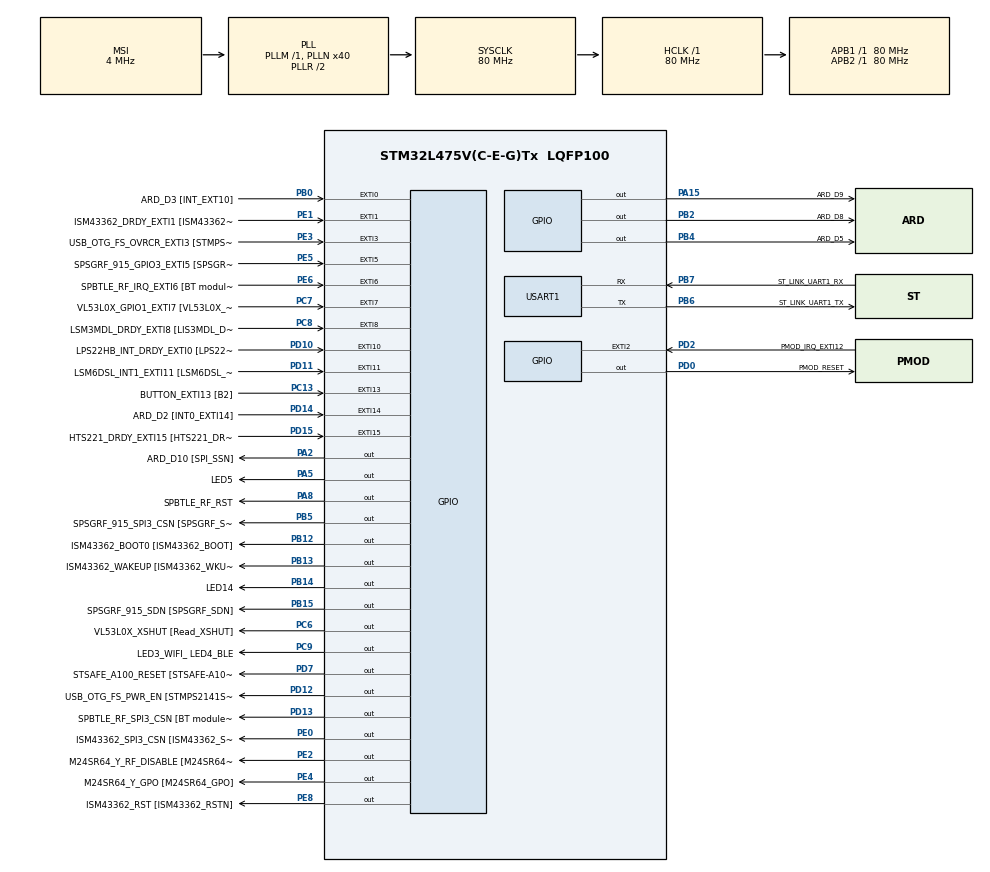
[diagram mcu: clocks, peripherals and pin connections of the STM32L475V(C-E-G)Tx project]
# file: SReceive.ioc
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Mcu.Family=STM32L4
Mcu.Name=STM32L475V(C-E-G)Tx
Mcu.Package=LQFP100
NVIC.EXTI15_10_IRQn=true\:0\:0\:false\:false\:true\:true\:true
NVIC.EXTI9_5_IRQn=true\:0\:0\:false\:false\:true\:true\:true
NVIC.PriorityGroup=NVIC_PRIORITYGROUP_4
NVIC.USART1_IRQn=true\:0\:0\:false\:false\:true\:true\:true
PA0.GPIO_Label=ARD_D1 [UART4_TX]
PA0.Signal=UART4_TX
PA1.GPIO_Label=ARD_D0 [UART4_RX]
PA1.Signal=UART4_RX
PA10.GPIO_Label=USB_OTG_FS_ID
PA10.Signal=USB_OTG_FS_ID
PA11.GPIO_Label=USB_OTG_FS_DM
PA11.Signal=USB_OTG_FS_DM
PA12.GPIO_Label=USB_OTG_FS_DP
PA12.Signal=USB_OTG_FS_DP
PA13\ (JTMS-SWDIO).GPIO_Label=SYS_JTMS_SWDIO
PA13\ (JTMS-SWDIO).Signal=SYS_JTMS-SWDIO
PA14\ (JTCK-SWCLK).GPIO_Label=SYS_JTCK_SWCLK
PA14\ (JTCK-SWCLK).Signal=SYS_JTCK-SWCLK
PA15\ (JTDI).GPIO_Label=ARD_D9
PA15\ (JTDI).Signal=GPIO_Output
PA2.GPIO_Label=ARD_D10 [SPI_SSN]
PA2.Signal=GPIO_Output
PA3.GPIO_Label=ARD_D4
PA3.Signal=S_TIM2_CH4
PA4.GPIO_Label=ARD_D7
PA4.Signal=ADCx_IN9
PA5.GPIO_Label=LED5
PA5.Signal=GPIO_Output
PA6.GPIO_Label=ARD_D12 [SPI1_MISO]
PA6.Signal=SPI1_MISO
PA7.GPIO_Label=ARD_D11 [SPI1_MOSI]
PA7.Signal=SPI1_MOSI
PA8.GPIO_Label=SPBTLE_RF_RST
PA8.Signal=GPIO_Output
PA9.GPIO_Label=USB_OTG_FS_VBUS [STMPS2141STR_OUT]
PA9.Signal=USB_OTG_FS_VBUS
PB0.GPIO_Label=ARD_D3 [INT_EXT10]
PB0.Signal=GPXTI0
PB1.GPIO_Label=ARD_D6 [ADC1_IN6]
PB1.Signal=ADCx_IN16
PB10.GPIO_Label=INTERNAL_I2C2_SCL [VL53L0X_SCL]
PB10.Signal=I2C2_SCL
PB11.GPIO_Label=INTERNAL_I2C2_SDA [VL53L0X_SDA]
PB11.Signal=I2C2_SDA
PB12.GPIO_Label=ISM43362_BOOT0 [ISM43362_BOOT]
PB12.Signal=GPIO_Output
PB13.GPIO_Label=ISM43362_WAKEUP [ISM43362_WKUP]
PB13.Signal=GPIO_Output
PB14.GPIO_Label=LED14
PB14.Signal=GPIO_Output
PB15.GPIO_Label=SPSGRF_915_SDN [SPSGRF_SDN]
PB15.Signal=GPIO_Output
PB2.GPIO_Label=ARD_D8
PB2.Signal=GPIO_Output
PB3\ (JTDO-TRACESWO).GPIO_Label=SYS_JTD0_SWO
PB3\ (JTDO-TRACESWO).Signal=SYS_JTDO-SWO
PB4\ (NJTRST).GPIO_Label=ARD_D5
PB4\ (NJTRST).Signal=GPIO_Output
PB5.GPIO_Label=SPSGRF_915_SPI3_CSN [SPSGRF_SPI_CS]
PB5.PinState=GPIO_PIN_SET
PB5.Signal=GPIO_Output
PB6.GPIO_Label=ST_LINK_UART1_TX
PB6.Mode=Asynchronous
PB6.Signal=USART1_TX
PB7.GPIO_Label=ST_LINK_UART1_RX
PB7.Mode=Asynchronous
PB7.Signal=USART1_RX
PB8.GPIO_Label=ARD_D15 [I2C1_SCL]
PB8.Signal=I2C1_SCL
PB9.GPIO_Label=ARD_D14 [I2C1_SDA]
PB9.Signal=I2C1_SDA
PC0.GPIO_Label=ARD_A5 [ADC]
PC0.Signal=ADCx_IN1
PC1.GPIO_Label=ARD_A4 [ADC]
PC1.Signal=ADCx_IN2
PC10.GPIO_Label=INTERNAL_SPI3_SCK [BT module_SPI_SCLK] [ISM43362_SCK]
PC10.Signal=SPI3_SCK
PC11.GPIO_Label=INTERNAL_SPI3_MISO [BT module_SPI_MISO] [ISM43362_MISO]
PC11.Signal=SPI3_MISO
PC12.GPIO_Label=INTERNAL_SPI3_MOSI [BT module_SPI_MOSI] [ISM43362_MOSI]
PC12.Signal=SPI3_MOSI
PC13.GPIO_Label=BUTTON_EXTI13 [B2]
PC13.GPIO_ModeDefaultEXTI=GPIO_MODE_IT_FALLING
PC13.Signal=GPXTI13
PC14-OSC32_IN\ (PC14).Signal=RCC_OSC32_IN
PC15-OSC32_OUT\ (PC15).Signal=RCC_OSC32_OUT
PC2.GPIO_Label=ARD_A3 [ADC]
PC2.Signal=ADCx_IN3
PC3.GPIO_Label=ARD_A2 [ADC]
PC3.Signal=ADCx_IN4
PC4.GPIO_Label=ARD_A1 [ADC]
PC4.Signal=ADCx_IN13
PC5.GPIO_Label=ARD_A0 [ADC]
PC5.Signal=ADCx_IN14
PC6.GPIO_Label=VL53L0X_XSHUT [Read_XSHUT]
PC6.Signal=GPIO_Output
PC7.GPIO_Label=VL53L0X_GPIO1_EXTI7 [VL53L0X_GPIO1]
PC7.Signal=GPXTI7
PC8.GPIO_Label=LSM3MDL_DRDY_EXTI8 [LIS3MDL_DRDY]
PC8.Signal=GPXTI8
PC9.GPIO_Label=LED3_WIFI_ LED4_BLE
PC9.Signal=GPIO_Output
PD0.GPIO_Label=PMOD_RESET
PD0.Signal=GPIO_Output
PD1.GPIO_Label=PMOD_SPI2_SCK
PD1.Signal=SPI2_SCK
PD10.GPIO_Label=LPS22HB_INT_DRDY_EXTI0 [LPS22HB_INT_DRDY] 
PD10.Signal=GPXTI10
PD11.GPIO_Label=LSM6DSL_INT1_EXTI11 [LSM6DSL_INT1]
PD11.Signal=GPXTI11
PD12.GPIO_Label=USB_OTG_FS_PWR_EN [STMPS2141STR_EN]
PD12.Signal=GPIO_Output
PD13.GPIO_Label=SPBTLE_RF_SPI3_CSN [BT module_SPI_CS]
PD13.PinState=GPIO_PIN_SET
PD13.Signal=GPIO_Output
PD14.GPIO_Label=ARD_D2 [INT0_EXTI14]
PD14.Signal=GPXTI14
PD15.GPIO_Label=HTS221_DRDY_EXTI15 [HTS221_DRDY]
PD15.Signal=GPXTI15
PD2.GPIO_Label=PMOD_IRQ_EXTI12
PD2.Signal=GPXTI2
PD3.GPIO_Label=PMOD_UART2_CTS
PD3.Signal=USART2_CTS
PD4.GPIO_Label=PMOD_UART2_RTS
PD4.Signal=USART2_RTS
PD5.GPIO_Label=PMOD_UART2_TX
PD5.Signal=USART2_TX
PD6.GPIO_Label=PMOD_UART2_RX
PD6.Signal=USART2_RX
PD7.GPIO_Label=STSAFE_A100_RESET [STSAFE-A100_RESET]
PD7.Signal=GPIO_Output
PD8.GPIO_Label=INTERNAL_UART3_TX [ISM43362_RX]
PD8.Signal=USART3_TX
PD9.GPIO_Label=INTERNAL_UART3_RX [ISM43362_TX]
PD9.Signal=USART3_RX
PE0.GPIO_Label=ISM43362_SPI3_CSN [ISM43362_SSN]
PE0.PinState=GPIO_PIN_SET
PE0.Signal=GPIO_Output
PE1.GPIO_Label=ISM43362_DRDY_EXTI1 [ISM43362_DATARDY]
PE1.Signal=GPXTI1
PE10.GPIO_Label=QUADSPI_CLK [MX25R6435F_SCLK]
PE10.Signal=QUADSPI_CLK
PE11.GPIO_Label=QUADSPI_NCS [MX25R6435F_SCLK]
PE11.Signal=QUADSPI_NCS
PE12.GPIO_Label=OQUADSPI_BK1_IO0 [MX25R6435F_IO0]
PE12.Signal=QUADSPI_BK1_IO0
PE13.GPIO_Label=QUADSPI_BK1_IO1 [MX25R6435F_IO1]
PE13.Signal=QUADSPI_BK1_IO1
PE14.GPIO_Label=QUAD_SPI_BK1_IO2 [MX25R6435F_IO2]
PE14.Signal=QUADSPI_BK1_IO2
PE15.GPIO_Label=QUAD_SPI_BK1_IO3 [MX25R6435F_IO3]
PE15.Signal=QUADSPI_BK1_IO3
PE2.GPIO_Label=M24SR64_Y_RF_DISABLE [M24SR64_RFDIS]
PE2.Signal=GPIO_Output
PE3.GPIO_Label=USB_OTG_FS_OVRCR_EXTI3 [STMPS2141STR_FAULT]
PE3.Signal=GPXTI3
PE4.GPIO_Label=M24SR64_Y_GPO [M24SR64_GPO]
PE4.Signal=GPIO_Output
PE5.GPIO_Label=SPSGRF_915_GPIO3_EXTI5 [SPSGRF_GPIO_3]
PE5.Signal=GPXTI5
PE6.GPIO_Label=SPBTLE_RF_IRQ_EXTI6 [BT module_SPI_IRQ]
PE6.Signal=GPXTI6
PE7.GPIO_Label=DFSDM1_DATIN2 [MP34DT01_DOUT]
PE7.Signal=S_DATAIN2DFSDM1
PE8.GPIO_Label=ISM43362_RST [ISM43362_RSTN]
PE8.Signal=GPIO_Output
PE9.GPIO_Label=DFSDM1_CKOUT [MP34DT01_CLK]
PE9.Signal=S_CKOUTDFSDM1
ProjectManager.HeapSize=0x200
ProjectManager.StackSize=0x400
ProjectManager.TargetToolchain=STM32CubeIDE
RCC.ADCFreq_Value=48000000
RCC.AHBFreq_Value=80000000
RCC.APB1Freq_Value=80000000
RCC.APB1TimFreq_Value=80000000
RCC.APB2Freq_Value=80000000
RCC.APB2TimFreq_Value=80000000
RCC.CortexFreq_Value=80000000
RCC.HCLKFreq_Value=80000000
RCC.HSE_VALUE=8000000
RCC.HSI_VALUE=16000000
RCC.LSE_VALUE=32768
RCC.MSI_VALUE=4000000
RCC.PLLN=40
RCC.PLLSAI1N=24
RCC.SYSCLKFreq_VALUE=80000000
RCC.SYSCLKSource=RCC_SYSCLKSOURCE_PLLCLK
RCC.USBFreq_Value=48000000
RCC.VCOOutputFreq_Value=160000000
SH.ADCx_IN1.0=ADC1_IN1
SH.ADCx_IN13.0=ADC1_IN13
SH.ADCx_IN14.0=ADC1_IN14
SH.ADCx_IN16.0=ADC1_IN16
SH.ADCx_IN2.0=ADC1_IN2
SH.ADCx_IN3.0=ADC1_IN3
SH.ADCx_IN4.0=ADC1_IN4
SH.ADCx_IN9.0=ADC1_IN9
SH.S_CKOUTDFSDM1.0=DFSDM1_CKOUT
SH.S_DATAIN2DFSDM1.0=DFSDM1_DATIN2
SH.S_TIM2_CH4.0=TIM2_CH4
USART1.VirtualMode-Asynchronous=VM_ASYNC
board=B-L475E-IOT01A1

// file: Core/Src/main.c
/* USER CODE BEGIN Header */
/**
  ******************************************************************************
  * @file           : main.c
  * @brief          : Main program body
  ******************************************************************************
  * @attention
  *
  * <h2><center>&copy; Copyright (c) 2022 STMicroelectronics.
  * All rights reserved.</center></h2>
  *
  * This software component is licensed by ST under BSD 3-Clause license,
  * the "License"; You may not use this file except in compliance with the
  * License. You may obtain a copy of the License at:
  *                        opensource.org/licenses/BSD-3-Clause
  *
  ******************************************************************************
  */
/* USER CODE END Header */
#include "main.h"

/* USER CODE BEGIN Includes */
#include"stdio.h"
/* USER CODE END Includes */

UART_HandleTypeDef huart1;

/* USER CODE BEGIN PV */
uint8_t msg[] = "Hi, Welcome to UART RX demo!!\r\n";
/*uint8_t msg1[] = "LED ON\r\n";
uint8_t msg2[] = "LED OFF\r\n";*/
//a temp buffr to store received msg
uint8_t msgRcv[] = "You have entered : ";
uint8_t num = 0;
uint8_t onMsg[] = "LED 1 ON\r\n";
uint8_t defMsg[] = "INVALID ENTRY\r\n";
/* USER CODE END PV */

void SystemClock_Config(void);
static void MX_GPIO_Init(void);
static void MX_USART1_UART_Init(void);

int main(void)
{
  /* USER CODE BEGIN 1 */
	HAL_UART_Transmit(&huart1, msg, sizeof(msg), 1000);
  /* USER CODE END 1 */

  /* MCU Configuration--------------------------------------------------------*/

  /* Reset of all peripherals, Initializes the Flash interface and the Systick. */
  HAL_Init();

  /* Configure the system clock */
  SystemClock_Config();

  /* Initialize all configured peripherals */
  MX_GPIO_Init();
  MX_USART1_UART_Init();

  /* Infinite loop */
  while (1)
  {

    /* USER CODE BEGIN 3 */

	  HAL_UART_Receive(&huart1, num, 1, 5000);

	  HAL_UART_Transmit(&huart1, msgRcv, sizeof(msg), 1000);
	  HAL_UART_Transmit(&huart1, num, sizeof(num), 1000);

	  switch(num)
	  {
	  case 1:
	  {
	  HAL_UART_Transmit(&huart1, onMsg, sizeof(onMsg), 1000);
	  HAL_Delay(1000);
	  }
	  break;

	  default :
	  { HAL_UART_Transmit(&huart1, defMsg, sizeof(defMsg), 1000);
	  HAL_Delay(1000);
	  }
	  break;
	  }

	  HAL_Delay(2000);

  }
  /* USER CODE END 3 */
}

void SystemClock_Config(void)
{
  RCC_OscInitTypeDef RCC_OscInitStruct = {0};
  RCC_ClkInitTypeDef RCC_ClkInitStruct = {0};

  /** Configure the main internal regulator output voltage
  */
  if (HAL_PWREx_ControlVoltageScaling(PWR_REGULATOR_VOLTAGE_SCALE1) != HAL_OK)
  {
    Error_Handler();
  }
  /** Initializes the RCC Oscillators according to the specified parameters
  * in the RCC_OscInitTypeDef structure.
  */
  RCC_OscInitStruct.OscillatorType = RCC_OSCILLATORTYPE_MSI;
  RCC_OscInitStruct.MSIState = RCC_MSI_ON;
  RCC_OscInitStruct.MSICalibrationValue = 0;
  RCC_OscInitStruct.MSIClockRange = RCC_MSIRANGE_6;
  RCC_OscInitStruct.PLL.PLLState = RCC_PLL_ON;
  RCC_OscInitStruct.PLL.PLLSource = RCC_PLLSOURCE_MSI;
  RCC_OscInitStruct.PLL.PLLM = 1;
  RCC_OscInitStruct.PLL.PLLN = 40;
  RCC_OscInitStruct.PLL.PLLP = RCC_PLLP_DIV7;
  RCC_OscInitStruct.PLL.PLLQ = RCC_PLLQ_DIV2;
  RCC_OscInitStruct.PLL.PLLR = RCC_PLLR_DIV2;
  if (HAL_RCC_OscConfig(&RCC_OscInitStruct) != HAL_OK)
  {
    Error_Handler();
  }
  /** Initializes the CPU, AHB and APB buses clocks
  */
  RCC_ClkInitStruct.ClockType = RCC_CLOCKTYPE_HCLK|RCC_CLOCKTYPE_SYSCLK
                              |RCC_CLOCKTYPE_PCLK1|RCC_CLOCKTYPE_PCLK2;
  RCC_ClkInitStruct.SYSCLKSource = RCC_SYSCLKSOURCE_PLLCLK;
  RCC_ClkInitStruct.AHBCLKDivider = RCC_SYSCLK_DIV1;
  RCC_ClkInitStruct.APB1CLKDivider = RCC_HCLK_DIV1;
  RCC_ClkInitStruct.APB2CLKDivider = RCC_HCLK_DIV1;

  if (HAL_RCC_ClockConfig(&RCC_ClkInitStruct, FLASH_LATENCY_4) != HAL_OK)
  {
    Error_Handler();
  }
}

static void MX_USART1_UART_Init(void)
{

  huart1.Instance = USART1;
  huart1.Init.BaudRate = 115200;
  huart1.Init.WordLength = UART_WORDLENGTH_8B;
  huart1.Init.StopBits = UART_STOPBITS_1;
  huart1.Init.Parity = UART_PARITY_NONE;
  huart1.Init.Mode = UART_MODE_TX_RX;
  huart1.Init.HwFlowCtl = UART_HWCONTROL_NONE;
  huart1.Init.OverSampling = UART_OVERSAMPLING_16;
  huart1.Init.OneBitSampling = UART_ONE_BIT_SAMPLE_DISABLE;
  huart1.AdvancedInit.AdvFeatureInit = UART_ADVFEATURE_NO_INIT;
  if (HAL_UART_Init(&huart1) != HAL_OK)
  {
    Error_Handler();
  }

}

static void MX_GPIO_Init(void)
{
  GPIO_InitTypeDef GPIO_InitStruct = {0};

  /* GPIO Ports Clock Enable */
  __HAL_RCC_GPIOE_CLK_ENABLE();
  __HAL_RCC_GPIOC_CLK_ENABLE();
  __HAL_RCC_GPIOA_CLK_ENABLE();
  __HAL_RCC_GPIOB_CLK_ENABLE();
  __HAL_RCC_GPIOD_CLK_ENABLE();

  /*Configure GPIO pin Output Level */
  HAL_GPIO_WritePin(GPIOE, M24SR64_Y_RF_DISABLE_Pin|M24SR64_Y_GPO_Pin|ISM43362_RST_Pin, GPIO_PIN_RESET);

  /*Configure GPIO pin Output Level */
  HAL_GPIO_WritePin(GPIOA, ARD_D10_Pin|LED5_Pin|SPBTLE_RF_RST_Pin|ARD_D9_Pin, GPIO_PIN_RESET);

  /*Configure GPIO pin Output Level */
  HAL_GPIO_WritePin(GPIOB, ARD_D8_Pin|ISM43362_BOOT0_Pin|ISM43362_WAKEUP_Pin|LED14_Pin
                          |SPSGRF_915_SDN_Pin|ARD_D5_Pin, GPIO_PIN_RESET);

  /*Configure GPIO pin Output Level */
  HAL_GPIO_WritePin(GPIOD, USB_OTG_FS_PWR_EN_Pin|PMOD_RESET_Pin|STSAFE_A100_RESET_Pin, GPIO_PIN_RESET);

  /*Configure GPIO pin Output Level */
  HAL_GPIO_WritePin(SPBTLE_RF_SPI3_CSN_GPIO_Port, SPBTLE_RF_SPI3_CSN_Pin, GPIO_PIN_SET);

  /*Configure GPIO pin Output Level */
  HAL_GPIO_WritePin(GPIOC, VL53L0X_XSHUT_Pin|LED3_WIFI__LED4_BLE_Pin, GPIO_PIN_RESET);

  /*Configure GPIO pin Output Level */
  HAL_GPIO_WritePin(SPSGRF_915_SPI3_CSN_GPIO_Port, SPSGRF_915_SPI3_CSN_Pin, GPIO_PIN_SET);

  /*Configure GPIO pin Output Level */
  HAL_GPIO_WritePin(ISM43362_SPI3_CSN_GPIO_Port, ISM43362_SPI3_CSN_Pin, GPIO_PIN_SET);

  /*Configure GPIO pins : M24SR64_Y_RF_DISABLE_Pin M24SR64_Y_GPO_Pin ISM43362_RST_Pin ISM43362_SPI3_CSN_Pin */
  GPIO_InitStruct.Pin = M24SR64_Y_RF_DISABLE_Pin|M24SR64_Y_GPO_Pin|ISM43362_RST_Pin|ISM43362_SPI3_CSN_Pin;
  GPIO_InitStruct.Mode = GPIO_MODE_OUTPUT_PP;
  GPIO_InitStruct.Pull = GPIO_NOPULL;
  GPIO_InitStruct.Speed = GPIO_SPEED_FREQ_LOW;
  HAL_GPIO_Init(GPIOE, &GPIO_InitStruct);

  /*Configure GPIO pins : USB_OTG_FS_OVRCR_EXTI3_Pin SPSGRF_915_GPIO3_EXTI5_Pin SPBTLE_RF_IRQ_EXTI6_Pin ISM43362_DRDY_EXTI1_Pin */
  GPIO_InitStruct.Pin = USB_OTG_FS_OVRCR_EXTI3_Pin|SPSGRF_915_GPIO3_EXTI5_Pin|SPBTLE_RF_IRQ_EXTI6_Pin|ISM43362_DRDY_EXTI1_Pin;
  GPIO_InitStruct.Mode = GPIO_MODE_IT_RISING;
  GPIO_InitStruct.Pull = GPIO_NOPULL;
  HAL_GPIO_Init(GPIOE, &GPIO_InitStruct);

  /*Configure GPIO pin : BUTTON_EXTI13_Pin */
  GPIO_InitStruct.Pin = BUTTON_EXTI13_Pin;
  GPIO_InitStruct.Mode = GPIO_MODE_IT_FALLING;
  GPIO_InitStruct.Pull = GPIO_NOPULL;
  HAL_GPIO_Init(BUTTON_EXTI13_GPIO_Port, &GPIO_InitStruct);

  /*Configure GPIO pins : ARD_A5_Pin ARD_A4_Pin ARD_A3_Pin ARD_A2_Pin
                           ARD_A1_Pin ARD_A0_Pin */
  GPIO_InitStruct.Pin = ARD_A5_Pin|ARD_A4_Pin|ARD_A3_Pin|ARD_A2_Pin
                          |ARD_A1_Pin|ARD_A0_Pin;
  GPIO_InitStruct.Mode = GPIO_MODE_ANALOG_ADC_CONTROL;
  GPIO_InitStruct.Pull = GPIO_NOPULL;
  HAL_GPIO_Init(GPIOC, &GPIO_InitStruct);

  /*Configure GPIO pins : ARD_D1_Pin ARD_D0_Pin */
  GPIO_InitStruct.Pin = ARD_D1_Pin|ARD_D0_Pin;
  GPIO_InitStruct.Mode = GPIO_MODE_AF_PP;
  GPIO_InitStruct.Pull = GPIO_NOPULL;
  GPIO_InitStruct.Speed = GPIO_SPEED_FREQ_VERY_HIGH;
  GPIO_InitStruct.Alternate = GPIO_AF8_UART4;
  HAL_GPIO_Init(GPIOA, &GPIO_InitStruct);

  /*Configure GPIO pins : ARD_D10_Pin LED5_Pin SPBTLE_RF_RST_Pin ARD_D9_Pin */
  GPIO_InitStruct.Pin = ARD_D10_Pin|LED5_Pin|SPBTLE_RF_RST_Pin|ARD_D9_Pin;
  GPIO_InitStruct.Mode = GPIO_MODE_OUTPUT_PP;
  GPIO_InitStruct.Pull = GPIO_NOPULL;
  GPIO_InitStruct.Speed = GPIO_SPEED_FREQ_LOW;
  HAL_GPIO_Init(GPIOA, &GPIO_InitStruct);

  /*Configure GPIO pin : ARD_D4_Pin */
  GPIO_InitStruct.Pin = ARD_D4_Pin;
  GPIO_InitStruct.Mode = GPIO_MODE_AF_PP;
  GPIO_InitStruct.Pull = GPIO_NOPULL;
  GPIO_InitStruct.Speed = GPIO_SPEED_FREQ_LOW;
  GPIO_InitStruct.Alternate = GPIO_AF1_TIM2;
  HAL_GPIO_Init(ARD_D4_GPIO_Port, &GPIO_InitStruct);

  /*Configure GPIO pin : ARD_D7_Pin */
  GPIO_InitStruct.Pin = ARD_D7_Pin;
  GPIO_InitStruct.Mode = GPIO_MODE_ANALOG_ADC_CONTROL;
  GPIO_InitStruct.Pull = GPIO_NOPULL;
  HAL_GPIO_Init(ARD_D7_GPIO_Port, &GPIO_InitStruct);

  /*Configure GPIO pins : ARD_D12_Pin ARD_D11_Pin */
  GPIO_InitStruct.Pin = ARD_D12_Pin|ARD_D11_Pin;
  GPIO_InitStruct.Mode = GPIO_MODE_AF_PP;
  GPIO_InitStruct.Pull = GPIO_NOPULL;
  GPIO_InitStruct.Speed = GPIO_SPEED_FREQ_VERY_HIGH;
  GPIO_InitStruct.Alternate = GPIO_AF5_SPI1;
  HAL_GPIO_Init(GPIOA, &GPIO_InitStruct);

  /*Configure GPIO pin : ARD_D3_Pin */
  GPIO_InitStruct.Pin = ARD_D3_Pin;
  GPIO_InitStruct.Mode = GPIO_MODE_IT_RISING;
  GPIO_InitStruct.Pull = GPIO_NOPULL;
  HAL_GPIO_Init(ARD_D3_GPIO_Port, &GPIO_InitStruct);

  /*Configure GPIO pin : ARD_D6_Pin */
  GPIO_InitStruct.Pin = ARD_D6_Pin;
  GPIO_InitStruct.Mode = GPIO_MODE_ANALOG_ADC_CONTROL;
  GPIO_InitStruct.Pull = GPIO_NOPULL;
  HAL_GPIO_Init(ARD_D6_GPIO_Port, &GPIO_InitStruct);

  /*Configure GPIO pins : ARD_D8_Pin ISM43362_BOOT0_Pin ISM43362_WAKEUP_Pin LED14_Pin
                           SPSGRF_915_SDN_Pin ARD_D5_Pin SPSGRF_915_SPI3_CSN_Pin */
  GPIO_InitStruct.Pin = ARD_D8_Pin|ISM43362_BOOT0_Pin|ISM43362_WAKEUP_Pin|LED14_Pin
                          |SPSGRF_915_SDN_Pin|ARD_D5_Pin|SPSGRF_915_SPI3_CSN_Pin;
  GPIO_InitStruct.Mode = GPIO_MODE_OUTPUT_PP;
  GPIO_InitStruct.Pull = GPIO_NOPULL;
  GPIO_InitStruct.Speed = GPIO_SPEED_FREQ_LOW;
  HAL_GPIO_Init(GPIOB, &GPIO_InitStruct);

  /*Configure GPIO pins : DFSDM1_DATIN2_Pin DFSDM1_CKOUT_Pin */
  GPIO_InitStruct.Pin = DFSDM1_DATIN2_Pin|DFSDM1_CKOUT_Pin;
  GPIO_InitStruct.Mode = GPIO_MODE_AF_PP;
  GPIO_InitStruct.Pull = GPIO_NOPULL;
  GPIO_InitStruct.Speed = GPIO_SPEED_FREQ_LOW;
  GPIO_InitStruct.Alternate = GPIO_AF6_DFSDM1;
  HAL_GPIO_Init(GPIOE, &GPIO_InitStruct);

  /*Configure GPIO pins : QUADSPI_CLK_Pin QUADSPI_NCS_Pin OQUADSPI_BK1_IO0_Pin QUADSPI_BK1_IO1_Pin
                           QUAD_SPI_BK1_IO2_Pin QUAD_SPI_BK1_IO3_Pin */
  GPIO_InitStruct.Pin = QUADSPI_CLK_Pin|QUADSPI_NCS_Pin|OQUADSPI_BK1_IO0_Pin|QUADSPI_BK1_IO1_Pin
                          |QUAD_SPI_BK1_IO2_Pin|QUAD_SPI_BK1_IO3_Pin;
  GPIO_InitStruct.Mode = GPIO_MODE_AF_PP;
  GPIO_InitStruct.Pull = GPIO_NOPULL;
  GPIO_InitStruct.Speed = GPIO_SPEED_FREQ_VERY_HIGH;
  GPIO_InitStruct.Alternate = GPIO_AF10_QUADSPI;
  HAL_GPIO_Init(GPIOE, &GPIO_InitStruct);

  /*Configure GPIO pins : INTERNAL_I2C2_SCL_Pin INTERNAL_I2C2_SDA_Pin */
  GPIO_InitStruct.Pin = INTERNAL_I2C2_SCL_Pin|INTERNAL_I2C2_SDA_Pin;
  GPIO_InitStruct.Mode = GPIO_MODE_AF_OD;
  GPIO_InitStruct.Pull = GPIO_NOPULL;
  GPIO_InitStruct.Speed = GPIO_SPEED_FREQ_VERY_HIGH;
  GPIO_InitStruct.Alternate = GPIO_AF4_I2C2;
  HAL_GPIO_Init(GPIOB, &GPIO_InitStruct);

  /*Configure GPIO pins : INTERNAL_UART3_TX_Pin INTERNAL_UART3_RX_Pin */
  GPIO_InitStruct.Pin = INTERNAL_UART3_TX_Pin|INTERNAL_UART3_RX_Pin;
  GPIO_InitStruct.Mode = GPIO_MODE_AF_PP;
  GPIO_InitStruct.Pull = GPIO_NOPULL;
  GPIO_InitStruct.Speed = GPIO_SPEED_FREQ_VERY_HIGH;
  GPIO_InitStruct.Alternate = GPIO_AF7_USART3;
  HAL_GPIO_Init(GPIOD, &GPIO_InitStruct);

  /*Configure GPIO pins : LPS22HB_INT_DRDY_EXTI0_Pin LSM6DSL_INT1_EXTI11_Pin ARD_D2_Pin HTS221_DRDY_EXTI15_Pin
                           PMOD_IRQ_EXTI12_Pin */
  GPIO_InitStruct.Pin = LPS22HB_INT_DRDY_EXTI0_Pin|LSM6DSL_INT1_EXTI11_Pin|ARD_D2_Pin|HTS221_DRDY_EXTI15_Pin
                          |PMOD_IRQ_EXTI12_Pin;
  GPIO_InitStruct.Mode = GPIO_MODE_IT_RISING;
  GPIO_InitStruct.Pull = GPIO_NOPULL;
  HAL_GPIO_Init(GPIOD, &GPIO_InitStruct);

  /*Configure GPIO pins : USB_OTG_FS_PWR_EN_Pin SPBTLE_RF_SPI3_CSN_Pin PMOD_RESET_Pin STSAFE_A100_RESET_Pin */
  GPIO_InitStruct.Pin = USB_OTG_FS_PWR_EN_Pin|SPBTLE_RF_SPI3_CSN_Pin|PMOD_RESET_Pin|STSAFE_A100_RESET_Pin;
  GPIO_InitStruct.Mode = GPIO_MODE_OUTPUT_PP;
  GPIO_InitStruct.Pull = GPIO_NOPULL;
  GPIO_InitStruct.Speed = GPIO_SPEED_FREQ_LOW;
  HAL_GPIO_Init(GPIOD, &GPIO_InitStruct);

  /*Configure GPIO pins : VL53L0X_XSHUT_Pin LED3_WIFI__LED4_BLE_Pin */
  GPIO_InitStruct.Pin = VL53L0X_XSHUT_Pin|LED3_WIFI__LED4_BLE_Pin;
  GPIO_InitStruct.Mode = GPIO_MODE_OUTPUT_PP;
  GPIO_InitStruct.Pull = GPIO_NOPULL;
  GPIO_InitStruct.Speed = GPIO_SPEED_FREQ_LOW;
  HAL_GPIO_Init(GPIOC, &GPIO_InitStruct);

  /*Configure GPIO pins : VL53L0X_GPIO1_EXTI7_Pin LSM3MDL_DRDY_EXTI8_Pin */
  GPIO_InitStruct.Pin = VL53L0X_GPIO1_EXTI7_Pin|LSM3MDL_DRDY_EXTI8_Pin;
  GPIO_InitStruct.Mode = GPIO_MODE_IT_RISING;
  GPIO_InitStruct.Pull = GPIO_NOPULL;
  HAL_GPIO_Init(GPIOC, &GPIO_InitStruct);

  /*Configure GPIO pin : USB_OTG_FS_VBUS_Pin */
  GPIO_InitStruct.Pin = USB_OTG_FS_VBUS_Pin;
  GPIO_InitStruct.Mode = GPIO_MODE_INPUT;
  GPIO_InitStruct.Pull = GPIO_NOPULL;
  HAL_GPIO_Init(USB_OTG_FS_VBUS_GPIO_Port, &GPIO_InitStruct);

  /*Configure GPIO pins : USB_OTG_FS_ID_Pin USB_OTG_FS_DM_Pin USB_OTG_FS_DP_Pin */
  GPIO_InitStruct.Pin = USB_OTG_FS_ID_Pin|USB_OTG_FS_DM_Pin|USB_OTG_FS_DP_Pin;
  GPIO_InitStruct.Mode = GPIO_MODE_AF_PP;
  GPIO_InitStruct.Pull = GPIO_NOPULL;
  GPIO_InitStruct.Speed = GPIO_SPEED_FREQ_VERY_HIGH;
  GPIO_InitStruct.Alternate = GPIO_AF10_OTG_FS;
  HAL_GPIO_Init(GPIOA, &GPIO_InitStruct);

  /*Configure GPIO pins : INTERNAL_SPI3_SCK_Pin INTERNAL_SPI3_MISO_Pin INTERNAL_SPI3_MOSI_Pin */
  GPIO_InitStruct.Pin = INTERNAL_SPI3_SCK_Pin|INTERNAL_SPI3_MISO_Pin|INTERNAL_SPI3_MOSI_Pin;
  GPIO_InitStruct.Mode = GPIO_MODE_AF_PP;
  GPIO_InitStruct.Pull = GPIO_NOPULL;
  GPIO_InitStruct.Speed = GPIO_SPEED_FREQ_VERY_HIGH;
  GPIO_InitStruct.Alternate = GPIO_AF6_SPI3;
  HAL_GPIO_Init(GPIOC, &GPIO_InitStruct);

  /*Configure GPIO pin : PMOD_SPI2_SCK_Pin */
  GPIO_InitStruct.Pin = PMOD_SPI2_SCK_Pin;
  GPIO_InitStruct.Mode = GPIO_MODE_AF_PP;
  GPIO_InitStruct.Pull = GPIO_NOPULL;
  GPIO_InitStruct.Speed = GPIO_SPEED_FREQ_VERY_HIGH;
  GPIO_InitStruct.Alternate = GPIO_AF5_SPI2;
  HAL_GPIO_Init(PMOD_SPI2_SCK_GPIO_Port, &GPIO_InitStruct);

  /*Configure GPIO pins : PMOD_UART2_CTS_Pin PMOD_UART2_RTS_Pin PMOD_UART2_TX_Pin PMOD_UART2_RX_Pin */
  GPIO_InitStruct.Pin = PMOD_UART2_CTS_Pin|PMOD_UART2_RTS_Pin|PMOD_UART2_TX_Pin|PMOD_UART2_RX_Pin;
  GPIO_InitStruct.Mode = GPIO_MODE_AF_PP;
  GPIO_InitStruct.Pull = GPIO_NOPULL;
  GPIO_InitStruct.Speed = GPIO_SPEED_FREQ_VERY_HIGH;
  GPIO_InitStruct.Alternate = GPIO_AF7_USART2;
  HAL_GPIO_Init(GPIOD, &GPIO_InitStruct);

  /*Configure GPIO pins : ARD_D15_Pin ARD_D14_Pin */
  GPIO_InitStruct.Pin = ARD_D15_Pin|ARD_D14_Pin;
  GPIO_InitStruct.Mode = GPIO_MODE_AF_OD;
  GPIO_InitStruct.Pull = GPIO_NOPULL;
  GPIO_InitStruct.Speed = GPIO_SPEED_FREQ_VERY_HIGH;
  GPIO_InitStruct.Alternate = GPIO_AF4_I2C1;
  HAL_GPIO_Init(GPIOB, &GPIO_InitStruct);

  /* EXTI interrupt init*/
  HAL_NVIC_SetPriority(EXTI9_5_IRQn, 0, 0);
  HAL_NVIC_EnableIRQ(EXTI9_5_IRQn);

  HAL_NVIC_SetPriority(EXTI15_10_IRQn, 0, 0);
  HAL_NVIC_EnableIRQ(EXTI15_10_IRQn);

}

void Error_Handler(void)
{
  __disable_irq();
  while (1)
  {
  }
}

/************************ (C) COPYRIGHT STMicroelectronics *****END OF FILE****/
